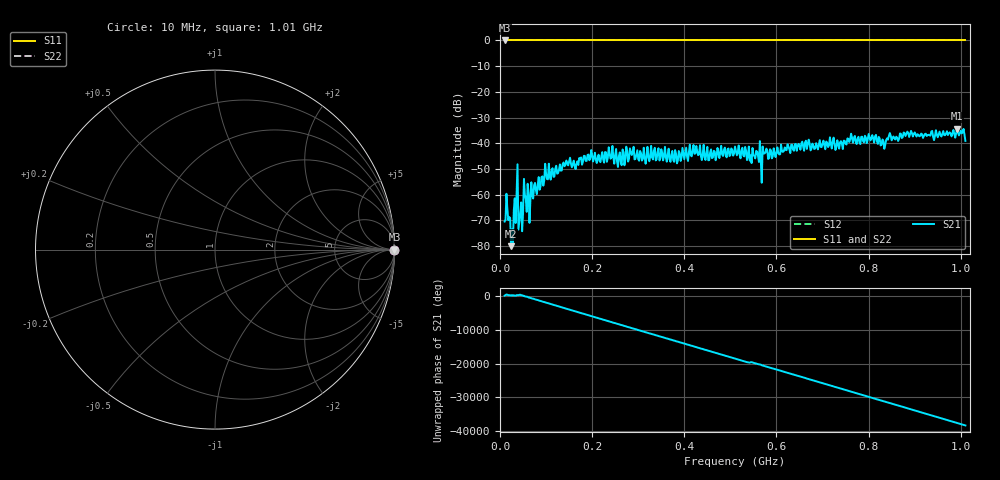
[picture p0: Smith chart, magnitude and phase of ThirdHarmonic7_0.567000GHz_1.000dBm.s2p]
! 8/17/2025 5:25:52 PM
! C:\ANRITSUVNA\TEMP\TEMP.S2P
! CHANNEL.1
! TR.MEASUREMENT
! RAW.DATA
! RF.CORRECTION.OFF
! AVERAGING.OFF
! IF.BANDWIDTH: 5KHZ
! SWEEPTYPE:  FREQ.SWEEP(Linear)
! Reference Plane Port Info
! PORT:  PORT1  PORT2
! DISTANCE:  0  m  0  m
! TIME:  0  s  0  s
! PHASE.OFFSET:  0  deg.  0  deg.
! LOSS:  0  dB  0  dB
! REF.LOSS:  0  dB  0  dB
! REF.FREQ:  0  Hz  0  Hz
! Power Info
! POWER:  -20  dBm  -20  dBm
! EFF.POWER:  -20  dBm  -20  dBm
! SOURCE.ATTEN:  0  dB  0  dB
! TEST.ATTEN:  0  dB  0  dB
# GHZ S RI R 50.0
! FREQ.GHZ  S11RE  S11IM  S21RE  S21IM  S12RE  S12IM  S22RE  S22IM
!; PortSelection: Port_12
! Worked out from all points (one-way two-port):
!   501 points, 10 MHz to 1.01 GHz, reference 50 ohm
!   highest |S21| = -34.31 dB at 992 MHz (marker M1); lowest = -80.1 dB at 24 MHz (marker M2)
!   lowest |S11| = 0.0 dB at 10 MHz (marker M3)
!   |S11| at or under -10 dB: nowhere
!   |S22| runs from 0.0 to 0.0 dB; largest |S21 - S12| = 1
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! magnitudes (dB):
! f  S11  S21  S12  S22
! 10 MHz  0.0  -70.5  0.0  0.0
! 18 MHz  0.0  -69.9  0.0  0.0
! 24 MHz  0.0  -80.1  0.0  0.0
! 30 MHz  0.0  -66.1  0.0  0.0
! 34 MHz  0.0  -71.1  0.0  0.0
! 42 MHz  0.0  -70.4  0.0  0.0
! 44 MHz  0.0  -67.1  0.0  0.0
! 56 MHz  0.0  -61.7  0.0  0.0
! 68 MHz  0.0  -55.2  0.0  0.0
! 72 MHz  0.0  -61.5  0.0  0.0
! 102 MHz  0.0  -53.9  0.0  0.0
! 178 MHz  0.0  -48.4  0.0  0.0
! 344 MHz  0.0  -41.9  0.0  0.0
! 510 MHz  0.0  -41.3  0.0  0.0
! 560 MHz  0.0  -45.0  0.0  0.0
! 564 MHz  0.0  -39.2  0.0  0.0
! 574 MHz  0.0  -44.0  0.0  0.0
! 678 MHz  0.0  -40.1  0.0  0.0
! 832 MHz  0.0  -39.0  0.0  0.0
! 844 MHz  0.0  -37.2  0.0  0.0
! 992 MHz  0.0  -34.3  0.0  0.0
! 1.01 GHz  0.0  -39.1  0.0  0.0
